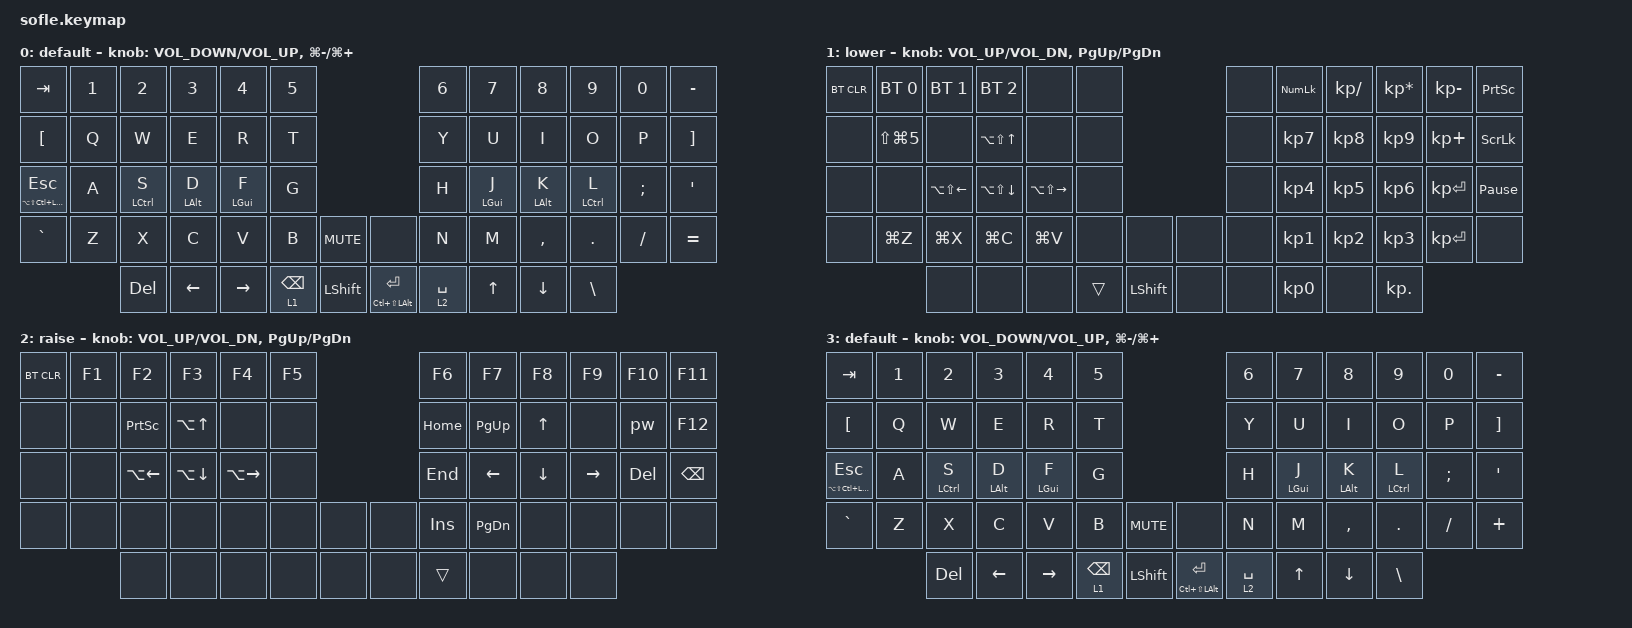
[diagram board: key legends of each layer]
/*
 * Copyright (c) 2020 The ZMK Contributors
 *
 * SPDX-License-Identifier: MIT
 */

#include <behaviors.dtsi>
#include <dt-bindings/zmk/bt.h>
#include <dt-bindings/zmk/keys.h>

#define BASE 0
#define LOWER 1
#define RAISE 2
#define ADJUST 3

&mt {
    flavor = "balanced";
    quick-tap-ms = <180>;
};

&lt { quick-tap-ms = <180>; };

/ {
    // Activate ADJUST layer by pressing raise and lower

    conditional_layers {
        compatible = "zmk,conditional-layers";

        adjust_layer {
            if-layers = <1 2>;
            then-layer = <3>;
        };
    };

    macros {
        pw: pw {
            compatible = "zmk,behavior-macro";
            #binding-cells = <0>;
            bindings = <&none &kp LS(I) &kp STAR &kp LS(T) &kp Y &kp LS(C) &kp H &kp N0 &kp DOT &kp S &kp N0 &kp EXCL &kp M &kp LS(U) &kp C &kp H>;
            label = "PW";
        };
    };

    keymap {
        compatible = "zmk,keymap";

        mac_base {
            display-name = "default";

            // ------------------------------------------------------------------------------------------------------------
            // |   `   |  1  |  2  |  3   |  4   |  5   |                   |  6   |  7    |  8    |  9   |   0   |       |
            // |  ESC  |  Q  |  W  |  E   |  R   |  T   |                   |  Y   |  U    |  I    |  O   |   P   | BKSPC |
            // |  TAB  |  A  |  S  |  D   |  F   |  G   |                   |  H   |  J    |  K    |  L   |   ;   |   '   |
            // | SHIFT |  Z  |  X  |  C   |  V   |  B   |  MUTE  |  |       |  N   |  M    |  ,    |  .   |   /   | SHIFT |
            //               | GUI | ALT  | CTRL | LOWER|  ENTER |  | SPACE | RAISE| CTRL  | ALT   | GUI  |

            bindings = <
&kp TAB                          &kp N1  &kp N2       &kp N3          &kp N4          &kp N5                                                         &kp N6       &kp N7          &kp N8          &kp N9         &kp N0    &kp MINUS
&kp LEFT_BRACKET                 &kp Q   &kp W        &kp E           &kp R           &kp T                                                          &kp Y        &kp U           &kp I           &kp O          &kp P     &kp RIGHT_BRACKET
&mt LA(LS(LC(LEFT_GUI))) ESCAPE  &kp A   &mt LCTRL S  &mt LEFT_ALT D  &mt LEFT_GUI F  &kp G                                                          &kp H        &mt LEFT_GUI J  &mt LEFT_ALT K  &mt LCTRL L    &kp SEMI  &kp SQT
&kp GRAVE                        &kp Z   &kp X        &kp C           &kp V           &kp B            &kp C_MUTE        &none                       &kp N        &kp M           &kp COMMA       &kp DOT        &kp FSLH  &kp EQUAL
                                         &kp DELETE   &kp LEFT        &kp RIGHT       &lt 1 BACKSPACE  &kp LEFT_SHIFT    &mt LC(LS(LEFT_ALT)) ENTER  &lt 2 SPACE  &kp UP          &kp DOWN        &kp BACKSLASH
            >;

            sensor-bindings =
                <&inc_dec_kp C_VOLUME_DOWN C_VOL_UP>,
                <&inc_dec_kp LG(MINUS) LG(PLUS)>;
        };

        mac_lower {
            display-name = "lower";

            // TODO: Some binds are waiting for shifted keycode support.
            // ------------------------------------------------------------------------------------------------------------
            // |       |  F1 |  F2 |  F3  |  F4  |  F5  |                   |  F6  |  F7   |  F8   |  F9  |  F10  |  F11  |
            // |   `   |  1  |  2  |  3   |  4   |  5   |                   |  6   |  7    |  8    |  9   |   0   |  F12  |
            // |       |  !  |  @  |  #   |  $   |  %   |                   |  ^   |  &    |  *    |  (   |   )   |   |   |
            // |       |  =  |  -  |  +   |  {   |  }   |        |  |       |  [   |  ]    |  ;    |  :   |   \   |       |
            //               |     |      |      |      |        |  |       |      |       |       |      |

            bindings = <
&bt BT_CLR  &bt BT_SEL 0    &bt BT_SEL 1            &bt BT_SEL 2            &none                    &none                            &none  &kp KP_NLCK      &kp KP_DIVIDE    &kp KP_MULTIPLY  &kp KP_SUBTRACT  &kp PRINTSCREEN
&none       &kp LS(LG(N5))  &none                   &kp LA(LS(UP_ARROW))    &none                    &none                            &none  &kp KP_NUMBER_7  &kp KP_NUMBER_8  &kp KP_NUMBER_9  &kp KP_PLUS      &kp SCROLLLOCK
&none       &none           &kp LA(LS(LEFT_ARROW))  &kp LA(LS(DOWN_ARROW))  &kp LA(LS(RIGHT_ARROW))  &none                            &none  &kp KP_NUMBER_4  &kp KP_NUMBER_5  &kp KP_NUMBER_6  &kp KP_ENTER     &kp PAUSE_BREAK
&none       &kp LG(Z)       &kp LG(X)               &kp LG(C)               &kp LG(V)                &none   &none             &none  &none  &kp KP_NUMBER_1  &kp KP_NUMBER_2  &kp KP_NUMBER_3  &kp KP_ENTER     &none
                            &none                   &none                   &none                    &trans  &kp LEFT_SHIFT    &none  &none  &kp KP_NUMBER_0  &none            &kp KP_DOT
            >;

            sensor-bindings = <&inc_dec_kp C_VOL_UP C_VOL_DN &inc_dec_kp PG_UP PG_DN>;
        };

        mac_raise {
            display-name = "raise";

            // ------------------------------------------------------------------------------------------------------------
            // | BTCLR | BT1  | BT2  |  BT3  |  BT4  |  BT5 |                |      |      |       |      |       |       |
            // |       | INS  | PSCR | GUI   |       |      |                | PGUP |      |   ^   |      |       |       |
            // |       | ALT  | CTRL | SHIFT |       | CAPS |                | PGDN |   <- |   v   |  ->  |  DEL  | BKSPC |
            // |       | UNDO | CUT  | COPY  | PASTE |      |      |  |      |      |      |       |      |       |       |
            //                |      |       |       |      |      |  |      |      |      |       |      |

            bindings = <
&bt BT_CLR  &kp F1  &kp F2              &kp F3              &kp F4               &kp F5                  &kp F6      &kp F7         &kp F8    &kp F9     &kp F10  &kp F11
&none       &none   &kp PSCRN           &kp LA(UP_ARROW)    &none                &none                   &kp HOME    &kp PAGE_UP    &kp UP    &none      &pw      &kp F12
&none       &none   &kp LA(LEFT_ARROW)  &kp LA(DOWN_ARROW)  &kp LA(RIGHT_ARROW)  &none                   &kp END     &kp LEFT       &kp DOWN  &kp RIGHT  &kp DEL  &kp BSPC
&none       &none   &none               &none               &none                &none   &none    &none  &kp INSERT  &kp PAGE_DOWN  &none     &none      &none    &none
                    &none               &none               &none                &none   &none    &none  &trans      &none          &none     &none
            >;

            sensor-bindings = <&inc_dec_kp C_VOL_UP C_VOL_DN &inc_dec_kp PG_UP PG_DN>;
        };

        win_base {
            display-name = "default";
            bindings = <
&kp TAB                          &kp N1  &kp N2       &kp N3          &kp N4          &kp N5                                                         &kp N6       &kp N7          &kp N8          &kp N9         &kp N0    &kp MINUS
&kp LEFT_BRACKET                 &kp Q   &kp W        &kp E           &kp R           &kp T                                                          &kp Y        &kp U           &kp I           &kp O          &kp P     &kp RIGHT_BRACKET
&mt LA(LS(LC(LEFT_GUI))) ESCAPE  &kp A   &mt LCTRL S  &mt LEFT_ALT D  &mt LEFT_GUI F  &kp G                                                          &kp H        &mt LEFT_GUI J  &mt LEFT_ALT K  &mt LCTRL L    &kp SEMI  &kp SQT
&kp GRAVE                        &kp Z   &kp X        &kp C           &kp V           &kp B            &kp C_MUTE        &none                       &kp N        &kp M           &kp COMMA       &kp DOT        &kp FSLH  &kp PLUS
                                         &kp DELETE   &kp LEFT        &kp RIGHT       &lt 1 BACKSPACE  &kp LEFT_SHIFT    &mt LC(LS(LEFT_ALT)) ENTER  &lt 2 SPACE  &kp UP          &kp DOWN        &kp BACKSLASH
            >;

            sensor-bindings =
                <&inc_dec_kp C_VOLUME_DOWN C_VOL_UP>,
                <&inc_dec_kp LG(MINUS) LG(PLUS)>;
        };
    };
};
